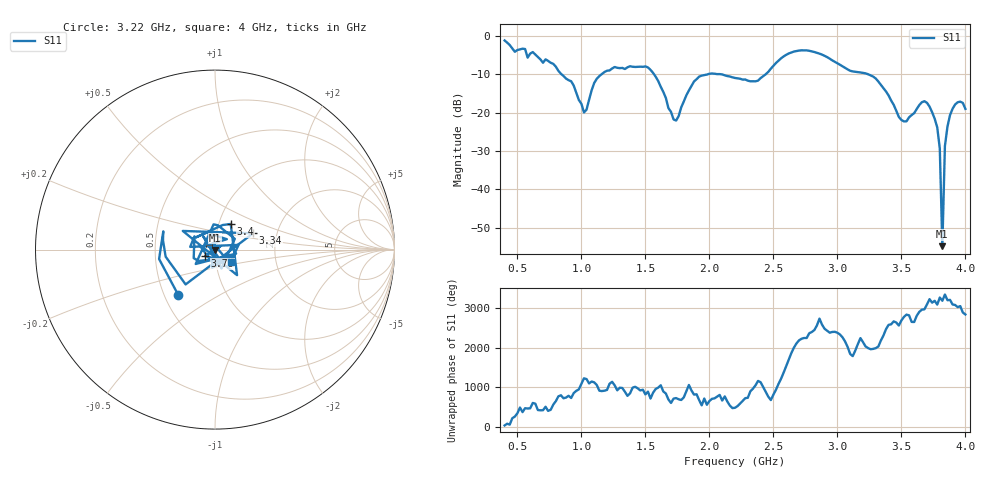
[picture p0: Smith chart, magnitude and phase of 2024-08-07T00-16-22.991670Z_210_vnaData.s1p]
!Created with skrf (http://scikit-rf.org).
# Hz S RI R 50.0
!freq ReS11 ImS11
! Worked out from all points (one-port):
!   181 points, 400 MHz to 4 GHz, reference 50 ohm
!   lowest |S11| = -54.8 dB at 3.82 GHz (marker M1), VSWR 1.00, Z = 50.1 - j0.141 ohm
!   |S11| at or under -10 dB: 1.567 GHz to 1.988 GHz (420.9 MHz wide, 23.7 % of centre); 2.089 GHz to 2.44 GHz (351.3 MHz wide, 15.5 % of centre); 3.239 GHz to end of sweep (the widest 3 of 4)
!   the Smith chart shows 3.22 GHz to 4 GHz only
!   S11 on the Smith chart (normalised r, x): 3.22 GHz: 0.59, -0.33; 3.34 GHz: 1.50, +0.29; 3.4 GHz: 1.14, +0.33; 3.78 GHz: 0.90, -0.06; 4 GHz: 1.18, -0.16
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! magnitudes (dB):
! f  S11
! 400 MHz  -1.2
! 860 MHz  -10.5
! 940 MHz  -13.0
! 1.02 GHz  -19.9
! 1.12 GHz  -11.2
! 1.3 GHz  -8.4
! 1.52 GHz  -8.2
! 1.6 GHz  -11.8
! 1.72 GHz  -21.8
! 1.76 GHz  -20.9
! 1.92 GHz  -10.6
! 2.2 GHz  -11.0
! 2.38 GHz  -11.7
! 2.66 GHz  -4.1
! 3.1 GHz  -9.1
! 3.22 GHz  -9.8
! 3.34 GHz  -12.8
! 3.4 GHz  -15.5
! 3.5 GHz  -21.9
! 3.56 GHz  -21.2
! 3.68 GHz  -17.0
! 3.78 GHz  -23.8
! 3.8 GHz  -29.4
! 3.82 GHz  -54.8
! 3.84 GHz  -28.7
! 3.86 GHz  -23.6
! 3.92 GHz  -17.9
! 4 GHz  -19.0
